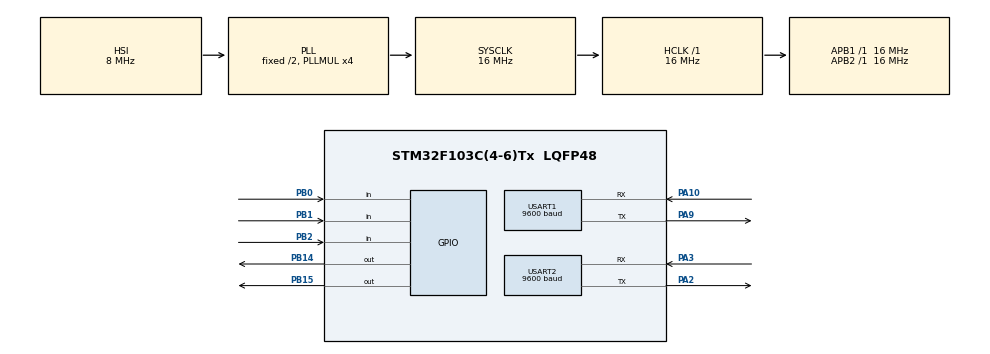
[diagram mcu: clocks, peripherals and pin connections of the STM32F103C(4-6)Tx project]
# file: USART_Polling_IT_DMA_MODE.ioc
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Dma.Request0=USART2_TX
Dma.USART2_TX.0.Direction=DMA_MEMORY_TO_PERIPH
Dma.USART2_TX.0.Instance=DMA1_Channel7
Dma.USART2_TX.0.MemDataAlignment=DMA_MDATAALIGN_BYTE
Dma.USART2_TX.0.MemInc=DMA_MINC_ENABLE
Dma.USART2_TX.0.Mode=DMA_CIRCULAR
Dma.USART2_TX.0.PeriphDataAlignment=DMA_PDATAALIGN_BYTE
Dma.USART2_TX.0.PeriphInc=DMA_PINC_DISABLE
Dma.USART2_TX.0.Priority=DMA_PRIORITY_LOW
Mcu.Family=STM32F1
Mcu.Name=STM32F103C(4-6)Tx
Mcu.Package=LQFP48
NVIC.DMA1_Channel7_IRQn=true\:0\:0\:false\:false\:true\:false\:true
NVIC.PriorityGroup=NVIC_PRIORITYGROUP_4
NVIC.USART1_IRQn=true\:0\:0\:false\:false\:true\:true\:true
PA10.Mode=Asynchronous
PA10.Signal=USART1_RX
PA2.Mode=Asynchronous
PA2.Signal=USART2_TX
PA3.Mode=Asynchronous
PA3.Signal=USART2_RX
PA9.Mode=Asynchronous
PA9.Signal=USART1_TX
PB0.Signal=GPIO_Input
PB1.Signal=GPIO_Input
PB14.Signal=GPIO_Output
PB15.Signal=GPIO_Output
PB2.Signal=GPIO_Input
ProjectManager.HeapSize=0x200
ProjectManager.StackSize=0x400
ProjectManager.TargetToolchain=STM32CubeIDE
RCC.AHBFreq_Value=16000000
RCC.APB1Freq_Value=16000000
RCC.APB1TimFreq_Value=16000000
RCC.APB2Freq_Value=16000000
RCC.APB2TimFreq_Value=16000000
RCC.HCLKFreq_Value=16000000
RCC.PLLMUL=RCC_PLL_MUL4
RCC.SYSCLKFreq_VALUE=16000000
RCC.SYSCLKSource=RCC_SYSCLKSOURCE_PLLCLK
RCC.USBFreq_Value=16000000
USART1.BaudRate=9600
USART1.VirtualMode=VM_ASYNC
USART2.BaudRate=9600
USART2.VirtualMode=VM_ASYNC
VP_SYS_VS_ND.Mode=No_Debug
board=custom

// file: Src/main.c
/* USER CODE BEGIN Header */
/**
  ******************************************************************************
  * @file           : main.c
  * @brief          : Main program body
  ******************************************************************************
  * @attention
  *
  * <h2><center>&copy; Copyright (c) 2023 STMicroelectronics.
  * All rights reserved.</center></h2>
  *
  * This software component is licensed by ST under BSD 3-Clause license,
  * the "License"; You may not use this file except in compliance with the
  * License. You may obtain a copy of the License at:
  *                        opensource.org/licenses/BSD-3-Clause
  *
  ******************************************************************************
  */
/* USER CODE END Header */

#include "main.h"

UART_HandleTypeDef huart1;
UART_HandleTypeDef huart2;
DMA_HandleTypeDef hdma_usart2_tx;

/* USER CODE BEGIN PV */
char str0[50] = "USART Polling Mode \n\r";
char str1[50] = "USART Interrupt Mode \n\r";
char str2[50] = "USART DMA Mode \n\r";

/* USER CODE END PV */

void SystemClock_Config(void);
static void MX_GPIO_Init(void);
static void MX_DMA_Init(void);
static void MX_USART1_UART_Init(void);
static void MX_USART2_UART_Init(void);

/* USER CODE BEGIN 0 */
void HAL_UART_TxCpltCallback(UART_HandleTypeDef *huart)
{
  //IT CallBack
 if (huart == &huart1)
 {
   HAL_GPIO_WritePin(GPIOB, GPIO_PIN_14, 0);
   HAL_GPIO_WritePin(GPIOB, GPIO_PIN_15, 1);
 }
 //DMA CallBack
 if (huart == &huart2)
  {
    HAL_GPIO_WritePin(GPIOB, GPIO_PIN_14, 1);
    HAL_GPIO_WritePin(GPIOB, GPIO_PIN_15, 0);
  }
}
/* USER CODE END 0 */

int main(void)
{

  /* MCU Configuration--------------------------------------------------------*/

  /* Reset of all peripherals, Initializes the Flash interface and the Systick. */
  HAL_Init();

  /* Configure the system clock */
  SystemClock_Config();

  /* Initialize all configured peripherals */
  MX_GPIO_Init();
  MX_DMA_Init();
  MX_USART1_UART_Init();
  MX_USART2_UART_Init();

  /* Infinite loop */
  while (1)
  {

    /* USER CODE BEGIN 3 */
    //Polling Mode
    if(HAL_GPIO_ReadPin(GPIOB, GPIO_PIN_0)==GPIO_PIN_SET)
    {
      HAL_UART_Transmit(&huart1, (uint8_t*)str0, sizeof(str0),100);
      HAL_Delay(200);
    }
    //Interrupt Mode
    if(HAL_GPIO_ReadPin(GPIOB, GPIO_PIN_1)==GPIO_PIN_SET)
       {
      HAL_UART_Transmit_IT(&huart1,(uint8_t*)str1, sizeof(str1));
      HAL_Delay(200);
       }
    //DMA Mode
    if(HAL_GPIO_ReadPin(GPIOB, GPIO_PIN_2)==GPIO_PIN_SET)
       {
      HAL_UART_Transmit_DMA(&huart2,(uint8_t*)str2, sizeof(str2));
      HAL_Delay(200);
       }
    else
    {
      HAL_UART_Abort(&huart1);
      HAL_UART_Abort(&huart2);
    }
  }
  /* USER CODE END 3 */
}

void SystemClock_Config(void)
{
  RCC_OscInitTypeDef RCC_OscInitStruct = {0};
  RCC_ClkInitTypeDef RCC_ClkInitStruct = {0};

  /** Initializes the CPU, AHB and APB busses clocks
  */
  RCC_OscInitStruct.OscillatorType = RCC_OSCILLATORTYPE_HSI;
  RCC_OscInitStruct.HSIState = RCC_HSI_ON;
  RCC_OscInitStruct.HSICalibrationValue = RCC_HSICALIBRATION_DEFAULT;
  RCC_OscInitStruct.PLL.PLLState = RCC_PLL_ON;
  RCC_OscInitStruct.PLL.PLLSource = RCC_PLLSOURCE_HSI_DIV2;
  RCC_OscInitStruct.PLL.PLLMUL = RCC_PLL_MUL4;
  if (HAL_RCC_OscConfig(&RCC_OscInitStruct) != HAL_OK)
  {
    Error_Handler();
  }
  /** Initializes the CPU, AHB and APB busses clocks
  */
  RCC_ClkInitStruct.ClockType = RCC_CLOCKTYPE_HCLK|RCC_CLOCKTYPE_SYSCLK
                              |RCC_CLOCKTYPE_PCLK1|RCC_CLOCKTYPE_PCLK2;
  RCC_ClkInitStruct.SYSCLKSource = RCC_SYSCLKSOURCE_PLLCLK;
  RCC_ClkInitStruct.AHBCLKDivider = RCC_SYSCLK_DIV1;
  RCC_ClkInitStruct.APB1CLKDivider = RCC_HCLK_DIV1;
  RCC_ClkInitStruct.APB2CLKDivider = RCC_HCLK_DIV1;

  if (HAL_RCC_ClockConfig(&RCC_ClkInitStruct, FLASH_LATENCY_0) != HAL_OK)
  {
    Error_Handler();
  }
}

static void MX_USART1_UART_Init(void)
{

  huart1.Instance = USART1;
  huart1.Init.BaudRate = 9600;
  huart1.Init.WordLength = UART_WORDLENGTH_8B;
  huart1.Init.StopBits = UART_STOPBITS_1;
  huart1.Init.Parity = UART_PARITY_NONE;
  huart1.Init.Mode = UART_MODE_TX_RX;
  huart1.Init.HwFlowCtl = UART_HWCONTROL_NONE;
  huart1.Init.OverSampling = UART_OVERSAMPLING_16;
  if (HAL_UART_Init(&huart1) != HAL_OK)
  {
    Error_Handler();
  }

}

static void MX_USART2_UART_Init(void)
{

  huart2.Instance = USART2;
  huart2.Init.BaudRate = 9600;
  huart2.Init.WordLength = UART_WORDLENGTH_8B;
  huart2.Init.StopBits = UART_STOPBITS_1;
  huart2.Init.Parity = UART_PARITY_NONE;
  huart2.Init.Mode = UART_MODE_TX_RX;
  huart2.Init.HwFlowCtl = UART_HWCONTROL_NONE;
  huart2.Init.OverSampling = UART_OVERSAMPLING_16;
  if (HAL_UART_Init(&huart2) != HAL_OK)
  {
    Error_Handler();
  }

}

static void MX_DMA_Init(void)
{

  /* DMA controller clock enable */
  __HAL_RCC_DMA1_CLK_ENABLE();

  /* DMA interrupt init */
  /* DMA1_Channel7_IRQn interrupt configuration */
  HAL_NVIC_SetPriority(DMA1_Channel7_IRQn, 0, 0);
  HAL_NVIC_EnableIRQ(DMA1_Channel7_IRQn);

}

static void MX_GPIO_Init(void)
{
  GPIO_InitTypeDef GPIO_InitStruct = {0};

  /* GPIO Ports Clock Enable */
  __HAL_RCC_GPIOA_CLK_ENABLE();
  __HAL_RCC_GPIOB_CLK_ENABLE();

  /*Configure GPIO pin Output Level */
  HAL_GPIO_WritePin(GPIOB, GPIO_PIN_14|GPIO_PIN_15, GPIO_PIN_RESET);

  /*Configure GPIO pins : PB0 PB1 PB2 */
  GPIO_InitStruct.Pin = GPIO_PIN_0|GPIO_PIN_1|GPIO_PIN_2;
  GPIO_InitStruct.Mode = GPIO_MODE_INPUT;
  GPIO_InitStruct.Pull = GPIO_NOPULL;
  HAL_GPIO_Init(GPIOB, &GPIO_InitStruct);

  /*Configure GPIO pins : PB14 PB15 */
  GPIO_InitStruct.Pin = GPIO_PIN_14|GPIO_PIN_15;
  GPIO_InitStruct.Mode = GPIO_MODE_OUTPUT_PP;
  GPIO_InitStruct.Pull = GPIO_NOPULL;
  GPIO_InitStruct.Speed = GPIO_SPEED_FREQ_LOW;
  HAL_GPIO_Init(GPIOB, &GPIO_InitStruct);

}

void Error_Handler(void)
{
}

/************************ (C) COPYRIGHT STMicroelectronics *****END OF FILE****/
